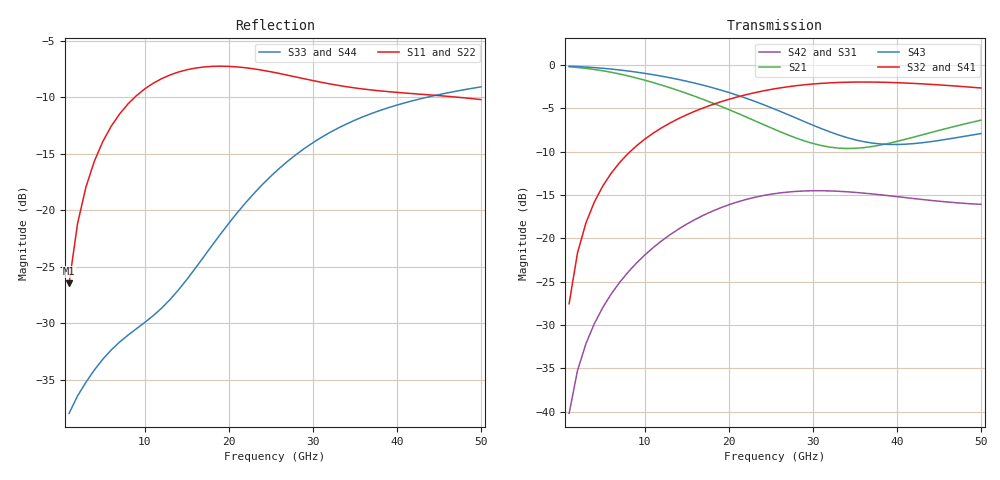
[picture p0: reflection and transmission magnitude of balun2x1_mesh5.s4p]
! Created with skrf 2.1.0 (http://scikit-rf.org).
# GHz S DB R 50.0
! Port[1] = P1
! Port[2] = P2
! Port[3] = P3
! Port[4] = P4
!freq dBS11 angS11 dBS12 angS12 dBS13 angS13
! dBS14 angS14
! dBS21 angS21 dBS22 angS22 dBS23 angS23
! dBS24 angS24
! dBS31 angS31 dBS32 angS32 dBS33 angS33
! dBS34 angS34
! dBS41 angS41 dBS42 angS42 dBS43 angS43
! dBS44 angS44
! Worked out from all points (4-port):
!   50 points, 1 GHz to 50 GHz, reference 50 ohm
!   strongest paths, dB at 1 GHz, 13 GHz, 26 GHz, 38 GHz, 50 GHz:
!     S32: -27.5, -6.7, -2.6, -2.0, -2.6
!     S41: -27.5, -6.7, -2.7, -2.0, -2.7
!     S43: -0.1, -1.5, -5.3, -9.1, -7.9
!     S21: -0.2, -2.6, -7.6, -9.2, -6.4
!     S42: -40.2, -19.6, -14.8, -15.0, -16.1
!     S31: -40.2, -19.7, -14.9, -15.2, -16.1
!   lowest |S11| = -26.5 dB at 1 GHz (marker M1), VSWR 1.10, Z = 52 + j4.43 ohm
!   |S11| at or under -10 dB: start of sweep to 8.832 GHz; 47.09 GHz to end of sweep
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1  -26.47 63.7  -0.19 -5.4  -40.18 -112.0  -27.52 84.5
   -0.19 -5.4  -26.47 63.7  -27.52 84.4  -40.17 -112.1
   -40.18 -112.0  -27.52 84.4  -37.97 15.8  -0.12 -2.7
   -27.52 84.5  -40.17 -112.1  -0.12 -2.7  -37.96 15.8
4  -15.67 61.9  -0.50 -20.1  -29.85 -138.7  -15.79 73.6
   -0.50 -20.1  -15.68 61.6  -15.80 73.6  -29.83 -139.2
   -29.85 -138.7  -15.80 73.6  -34.14 12.3  -0.28 -10.0
   -15.79 73.6  -29.83 -139.2  -0.28 -10.0  -34.14 12.0
9  -9.88 40.2  -1.48 -43.7  -22.91 177.3  -9.32 55.6
   -1.48 -43.7  -9.89 39.7  -9.32 55.6  -22.85 176.6
   -22.91 177.3  -9.32 55.6  -30.49 -26.2  -0.81 -21.6
   -9.32 55.6  -22.85 176.6  -0.81 -21.6  -30.43 -26.8
17  -7.34 8.4  -3.97 -81.1  -17.43 117.5  -4.93 30.0
    -3.97 -81.1  -7.38 7.4  -4.92 30.0  -17.31 116.3
    -17.43 117.5  -4.92 30.0  -24.15 -116.9  -2.33 -38.2
    -4.93 30.0  -17.31 116.3  -2.33 -38.2  -23.95 -117.5
27  -8.06 -18.2  -8.03 -139.3  -14.83 59.6  -2.52 -0.0
    -8.03 -139.3  -8.23 -19.9  -2.50 -0.2  -14.65 57.7
    -14.83 59.6  -2.50 -0.2  -15.68 170.7  -5.69 -51.1
    -2.52 -0.0  -14.65 57.7  -5.69 -51.1  -15.49 170.3
39  -9.52 -32.1  -9.03 131.0  -15.26 13.6  -2.02 -32.6
    -9.03 131.0  -9.86 -33.3  -1.99 -32.9  -15.06 10.6
    -15.26 13.6  -1.99 -32.9  -10.93 119.7  -9.15 -37.2
    -2.02 -32.6  -15.06 10.6  -9.15 -37.2  -10.75 119.1
50  -10.22 -45.6  -6.35 80.1  -16.15 -7.6  -2.67 -56.1
    -6.35 80.1  -10.58 -46.3  -2.64 -56.7  -16.06 -11.7
    -16.15 -7.6  -2.64 -56.7  -9.10 91.1  -7.90 -26.5
    -2.67 -56.1  -16.06 -11.7  -7.90 -26.5  -8.93 90.2
